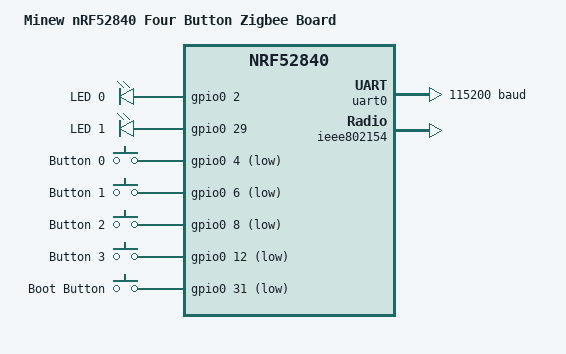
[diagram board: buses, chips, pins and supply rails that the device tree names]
// Copyright (c) 2024 Nordic Semiconductor ASA
// SPDX-License-Identifier: Apache-2.0

/dts-v1/;
#include <nordic/nrf52840_qiaa.dtsi>
#include "minew_nrf52840_four_button-pinctrl.dtsi"
#include <zephyr/dt-bindings/input/input-event-codes.h>

/ {
	model = "Minew nRF52840 Four Button Zigbee Board";
	compatible = "minew,minew-nrf52840-four-button";

	chosen {
		zephyr,console = &uart0;
		zephyr,shell-uart = &uart0;
		zephyr,bt-mon-uart = &uart0;
		zephyr,bt-c2h-uart = &uart0;
		zephyr,sram = &sram0;
		zephyr,flash = &flash0;
		zephyr,code-partition = &slot0_partition;
		zephyr,ieee802154 = &ieee802154;
	};

	leds {
		compatible = "gpio-leds";
		led0: led_0 {
			gpios = <&gpio0 2 GPIO_ACTIVE_HIGH>;
			label = "LED 0";
		};
		compatible = "gpio-leds";
		led1: led_1 {
			gpios = <&gpio0 29 GPIO_ACTIVE_HIGH>;
			label = "LED 1";
		};
	};

	buttons {
		compatible = "gpio-keys";
		button0: button_0 {
			gpios = <&gpio0 4 (GPIO_PULL_UP | GPIO_ACTIVE_LOW)>;
			label = "Button 0";
			zephyr,code = <INPUT_KEY_0>;
		};
		button1: button_1 {
			gpios = <&gpio0 6 (GPIO_PULL_UP | GPIO_ACTIVE_LOW)>;
			label = "Button 1";
			zephyr,code = <INPUT_KEY_1>;
		};
		button2: button_2 {
			gpios = <&gpio0 8 (GPIO_PULL_UP | GPIO_ACTIVE_LOW)>;
			label = "Button 2";
			zephyr,code = <INPUT_KEY_2>;
		};
		button3: button_3 {
			gpios = <&gpio0 12 (GPIO_PULL_UP | GPIO_ACTIVE_LOW)>;
			label = "Button 3";
			zephyr,code = <INPUT_KEY_3>;
		};
		button4: button_4 {
			gpios = <&gpio0 31 (GPIO_PULL_UP | GPIO_ACTIVE_LOW)>;
			label = "Boot Button";
			zephyr,code = <INPUT_KEY_4>;
		};
	};

	aliases {
		led0 = &led0;
		led1 = &led1;
		sw0 = &button0;
		sw1 = &button1;
		sw2 = &button2;
		sw3 = &button3;
		sw4 = &button4;
		watchdog0 = &wdt0;
	};
};

&uicr {
	gpio-as-nreset;
};

&gpiote {
	status = "okay";
};

&gpio0 {
	status = "okay";
};

&uart0 {
	compatible = "nordic,nrf-uart";
	current-speed = <115200>;
	status = "okay";
	pinctrl-0 = <&uart0_default>;
	pinctrl-1 = <&uart0_sleep>;
	pinctrl-names = "default", "sleep";
};

&ieee802154 {
        status = "okay";
};

&flash0 {
	partitions {
		compatible = "fixed-partitions";
		#address-cells = <1>;
		#size-cells = <1>;

		boot_partition: partition@0 {
			label = "mcuboot";
			reg = <0x0 0xc000>;
		};
		slot0_partition: partition@c000 {
			label = "image-0";
			reg = <0xc000 0x72000>;
		};
		slot1_partition: partition@7e000 {
			label = "image-1";
			reg = <0x7e000 0x72000>;
		};
		scratch_partition: partition@f0000 {
			label = "image-scratch";
			reg = <0xf0000 0xa000>;
		};
		storage_partition: partition@fa000 {
			label = "storage";
			reg = <0xfa000 0x6000>;
		};
	};
};

